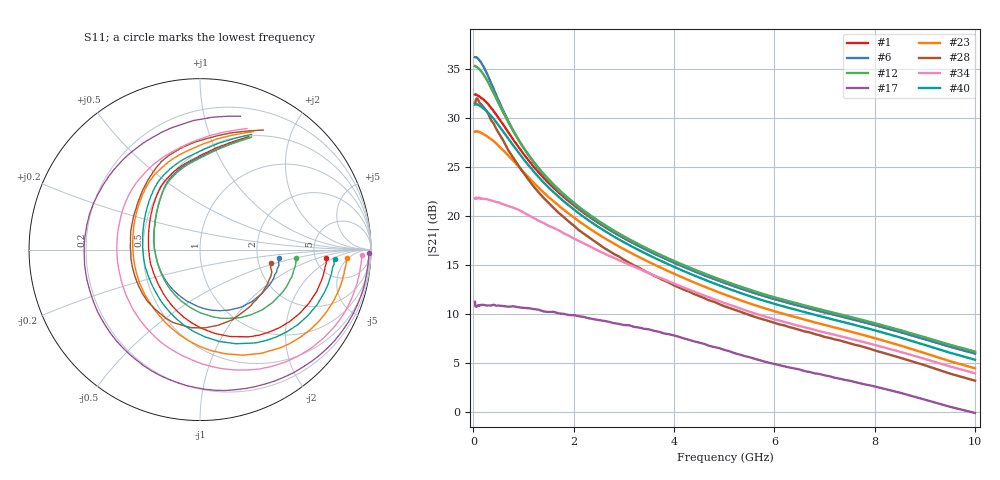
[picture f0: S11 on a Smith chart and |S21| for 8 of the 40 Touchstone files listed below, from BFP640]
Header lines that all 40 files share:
! Infineon Technologies  Discrete & RF Semiconductors
! BFP640
! Common Emitter S-Parameters:  Apr 2013
# GHz  S  MA  R  50
!  f  S11  S21  S12  S22
! GHz  MAG  ANG  MAG  ANG  MAG  ANG  MAG  ANG
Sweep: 30 MHz to 10 GHz
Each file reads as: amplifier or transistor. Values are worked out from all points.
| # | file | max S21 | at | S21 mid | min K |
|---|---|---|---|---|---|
| 1 | BFP640_VCE_3.5V_IC_18mA.s2p | 32.4 dB | 50 MHz | 16.4 dB at 3.5 GHz | 0.07 |
| 2 | BFP640_VCE_3.5V_IC_22mA.s2p | 33.6 dB | 30 MHz | 16.5 dB at 3.5 GHz | 0.07 |
| 3 | BFP640_VCE_3.5V_IC_28mA.s2p | 34.8 dB | 30 MHz | 16.6 dB at 3.5 GHz | 0.06 |
| 4 | BFP640_VCE_3.5V_IC_32mA.s2p | 35.4 dB | 30 MHz | 16.6 dB at 3.5 GHz | -0.08 |
| 5 | BFP640_VCE_3.5V_IC_37mA.s2p | 36.0 dB | 30 MHz | 16.5 dB at 3.5 GHz | 0.06 |
| 6 | BFP640_VCE_3.5V_IC_42mA.s2p | 36.2 dB | 50 MHz | 16.4 dB at 3.5 GHz | 0.06 |
| 7 | BFP640_VCE_3.5V_IC_48mA.s2p | 36.0 dB | 50 MHz | 16.2 dB at 3.5 GHz | 0.12 |
| 8 | BFP640_VCE_3.5V_IC_50mA.s2p | 35.8 dB | 50 MHz | 15.9 dB at 3.5 GHz | 0.28 |
| 9 | BFP640_VCE_4.0V_IC_18mA.s2p | 32.3 dB | 50 MHz | 16.5 dB at 3.5 GHz | 0.15 |
| 10 | BFP640_VCE_4.0V_IC_22mA.s2p | 33.5 dB | 30 MHz | 16.5 dB at 3.5 GHz | 0.12 |
| 11 | BFP640_VCE_4.0V_IC_28mA.s2p | 34.7 dB | 30 MHz | 16.6 dB at 3.5 GHz | 0.18 |
| 12 | BFP640_VCE_4.0V_IC_32mA.s2p | 35.3 dB | 30 MHz | 16.6 dB at 3.5 GHz | 0.16 |
| 13 | BFP640_VCE_4.0V_IC_37mA.s2p | 35.9 dB | 30 MHz | 16.6 dB at 3.5 GHz | 0.13 |
| 14 | BFP640_VCE_4.0V_IC_42mA.s2p | 36.2 dB | 30 MHz | 16.5 dB at 3.5 GHz | 0.20 |
| 15 | BFP640_VCE_4.0V_IC_48mA.s2p | 36.2 dB | 50 MHz | 16.3 dB at 3.5 GHz | 0.32 |
| 16 | BFP640_VCE_4.0V_IC_50mA.s2p | 36.1 dB | 50 MHz | 16.2 dB at 3.5 GHz | 0.35 |
| 17 | BFP640_w_noise_VCE_1.0V_IC_1.0mA.s2p | 11.3 dB | 30 MHz | 8.5 dB at 3.5 GHz | -0.06 |
| 18 | BFP640_w_noise_VCE_1.0V_IC_2.0mA.s2p | 16.5 dB | 30 MHz | 11.7 dB at 3.5 GHz | -0.28 |
| 19 | BFP640_w_noise_VCE_1.0V_IC_4.0mA.s2p | 21.9 dB | 120 MHz | 13.9 dB at 3.5 GHz | -0.12 |
| 20 | BFP640_w_noise_VCE_1.0V_IC_5.0mA.s2p | 23.5 dB | 50 MHz | 14.3 dB at 3.5 GHz | -0.15 |
| 21 | BFP640_w_noise_VCE_1.0V_IC_6.0mA.s2p | 24.9 dB | 50 MHz | 14.7 dB at 3.5 GHz | -0.11 |
| 22 | BFP640_w_noise_VCE_1.0V_IC_8.0mA.s2p | 27.0 dB | 80 MHz | 15.1 dB at 3.5 GHz | -0.19 |
| 23 | BFP640_w_noise_VCE_1.0V_IC_10mA.s2p | 28.7 dB | 50 MHz | 15.3 dB at 3.5 GHz | -0.25 |
| 24 | BFP640_w_noise_VCE_1.0V_IC_12mA.s2p | 30.0 dB | 50 MHz | 15.5 dB at 3.5 GHz | -0.04 |
| 25 | BFP640_w_noise_VCE_1.0V_IC_15mA.s2p | 31.4 dB | 50 MHz | 15.6 dB at 3.5 GHz | 0.02 |
| 26 | BFP640_w_noise_VCE_1.0V_IC_20mA.s2p | 32.9 dB | 70 MHz | 15.6 dB at 3.5 GHz | -0.06 |
| 27 | BFP640_w_noise_VCE_1.0V_IC_25mA.s2p | 33.0 dB | 70 MHz | 15.3 dB at 3.5 GHz | 0.01 |
| 28 | BFP640_w_noise_VCE_1.0V_IC_30mA.s2p | 32.0 dB | 70 MHz | 14.2 dB at 3.5 GHz | 0.24 |
| 29 | BFP640_w_noise_VCE_1.0V_IC_35mA.s2p | 30.0 dB | 60 MHz | 10.2 dB at 3.5 GHz | 0.79 |
| 30 | BFP640_w_noise_VCE_1.0V_IC_40mA.s2p | 26.6 dB | 30 MHz | 5.0 dB at 3.5 GHz | 1.34 |
| 31 | BFP640_w_noise_VCE_1.0V_IC_45mA.s2p | 23.4 dB | 30 MHz | 1.9 dB at 3.5 GHz | 1.59 |
| 32 | BFP640_w_noise_VCE_1.5V_IC_1.0mA.s2p | 11.3 dB | 30 MHz | 8.6 dB at 3.5 GHz | -0.13 |
| 33 | BFP640_w_noise_VCE_1.5V_IC_2.0mA.s2p | 16.5 dB | 30 MHz | 11.9 dB at 3.5 GHz | -0.10 |
| 34 | BFP640_w_noise_VCE_1.5V_IC_4.0mA.s2p | 21.9 dB | 110 MHz | 14.2 dB at 3.5 GHz | -0.15 |
| 35 | BFP640_w_noise_VCE_1.5V_IC_5.0mA.s2p | 23.4 dB | 60 MHz | 14.6 dB at 3.5 GHz | -0.12 |
| 36 | BFP640_w_noise_VCE_1.5V_IC_6.0mA.s2p | 24.8 dB | 70 MHz | 15.0 dB at 3.5 GHz | -0.09 |
| 37 | BFP640_w_noise_VCE_1.5V_IC_8.0mA.s2p | 27.0 dB | 80 MHz | 15.4 dB at 3.5 GHz | -0.14 |
| 38 | BFP640_w_noise_VCE_1.5V_IC_10mA.s2p | 28.7 dB | 60 MHz | 15.7 dB at 3.5 GHz | -0.13 |
| 39 | BFP640_w_noise_VCE_1.5V_IC_12mA.s2p | 29.9 dB | 50 MHz | 15.9 dB at 3.5 GHz | -0.16 |
| 40 | BFP640_w_noise_VCE_1.5V_IC_15mA.s2p | 31.4 dB | 50 MHz | 16.0 dB at 3.5 GHz | -0.05 |

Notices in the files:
BFP640/BFP640_VCE_3.5V_IC_18mA.s2p:
(c) 2013  Infineon Technologies AG, Munich
